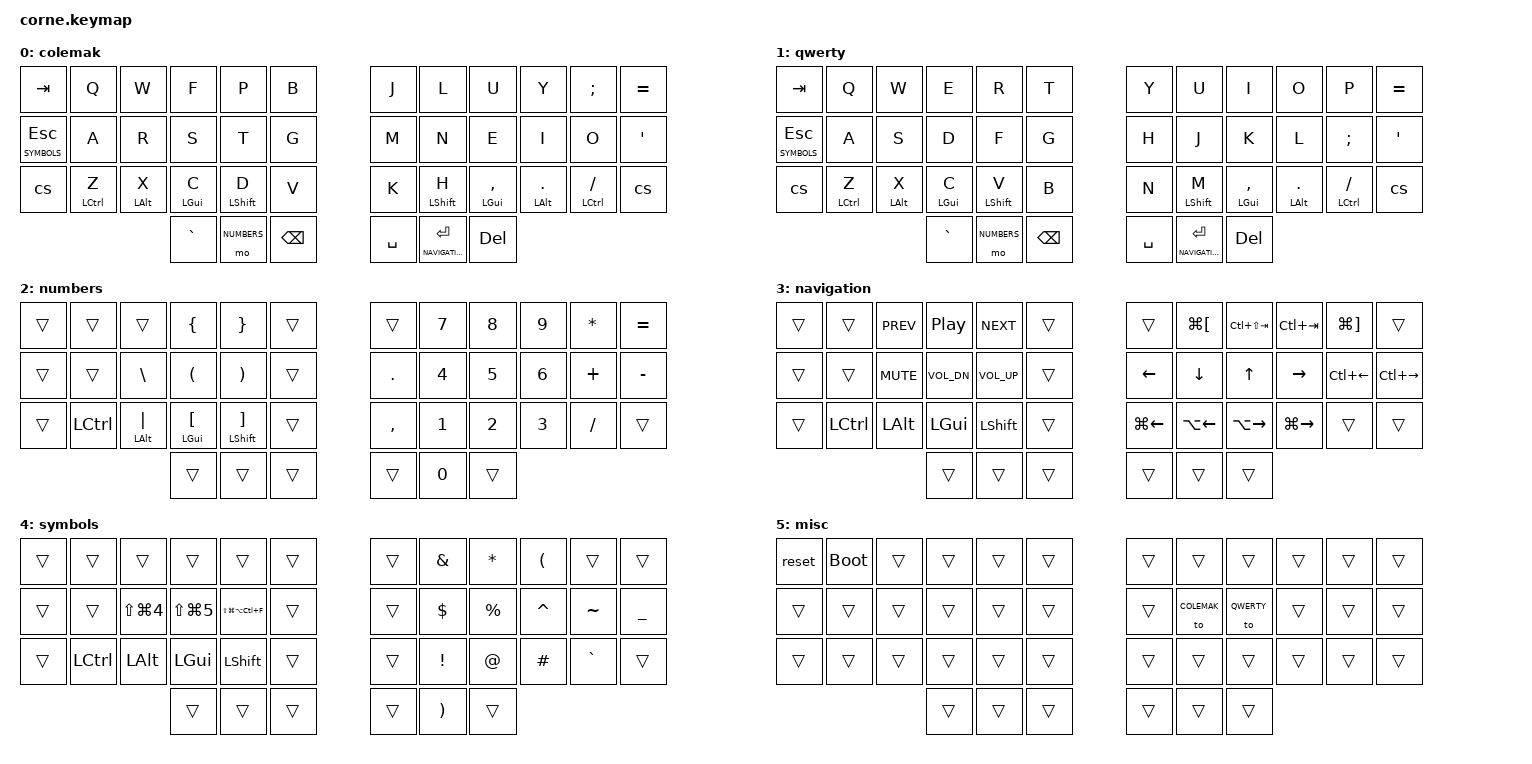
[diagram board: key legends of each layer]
/*
 * Copyright (c) 2020 The ZMK Contributors
 *
 * SPDX-License-Identifier: MIT
 */

#include <behaviors.dtsi>
#include <dt-bindings/zmk/keys.h>
#include <dt-bindings/zmk/bt.h>

#define COLEMAK 0
#define QWERTY 1
#define NUMBERS 2
#define NAVIGATION 3
#define SYMBOLS 4
#define MISC 5

&lt {
    tapping-term-ms = <100>;
};
&sk {
    release-after-ms = <200>;
    quick-release;
};

/ {
        behaviors {
            hrm: homerow_mods {
                compatible = "zmk,behavior-hold-tap";
                label = "HOMEROW_MODS";
                #binding-cells = <2>;
                tapping-term-ms = <190>;
                quick-tap-ms = <0>;
                flavor = "tap-preferred";
                bindings = <&kp>, <&kp>;
            };
            cs: caps_shift {
                compatible = "zmk,behavior-tap-dance";
                label = "caps_shift";
                #binding-cells = <0>;
                tapping-term-ms = <200>;
                bindings = <&sk LSHFT>, <&caps_word>;
            };
        };

        conditional_layers {
            compatible = "zmk,conditional-layers";
            tri_layer {
                if-layers = <NUMBERS NAVIGATION>;
                then-layer = <MISC>;
            };
        };

        keymap {
                compatible = "zmk,keymap";

                colemak {
                        bindings = <
   &kp TAB         &kp Q        &kp W       &kp F       &kp P        &kp B     &kp J &kp L        &kp U           &kp Y         &kp SEMI        &kp EQUAL
   &lt SYMBOLS ESC &kp A        &kp R       &kp S       &kp T        &kp G     &kp M &kp N        &kp E           &kp I         &kp O           &kp SQT
   &cs             &hrm LCTRL Z &hrm LALT X &hrm LGUI C &hrm LSHFT D &kp V     &kp K &hrm LSHFT H &hrm LGUI COMMA &hrm LALT DOT &hrm LCTRL FSLH &cs
                                            &kp GRAVE &mo NUMBERS &kp BSPC     &kp SPACE &lt NAVIGATION RET &kp DEL
                        >;
                };

                qwerty {
                        bindings = <
   &kp TAB         &kp Q        &kp W       &kp E       &kp R        &kp T     &kp Y &kp U        &kp I           &kp O         &kp P           &kp EQUAL
   &lt SYMBOLS ESC &kp A        &kp S       &kp D       &kp F        &kp G     &kp H &kp J        &kp K           &kp L         &kp SEMI        &kp SQT
   &cs             &hrm LCTRL Z &hrm LALT X &hrm LGUI C &hrm LSHFT V &kp B     &kp N &hrm LSHFT M &hrm LGUI COMMA &hrm LALT DOT &hrm LCTRL FSLH &cs
                                            &kp GRAVE &mo NUMBERS &kp BSPC     &kp SPACE &lt NAVIGATION RET &kp DEL
                        >;
                };

                numbers {
                        bindings = <
   &trans &trans    &trans         &kp LBRC       &kp RBRC        &trans    &trans    &kp N7 &kp N8 &kp N9 &kp STAR &kp EQUAL
   &trans &trans    &kp BSLH       &kp LPAR       &kp RPAR        &trans    &kp DOT   &kp N4 &kp N5 &kp N6 &kp PLUS &kp MINUS
   &trans &kp LCTRL &hrm LALT PIPE &hrm LGUI LBKT &hrm LSHFT RBKT &trans    &kp COMMA &kp N1 &kp N2 &kp N3 &kp FSLH &trans
                                                    &trans &trans &trans    &trans &kp N0 &trans
                        >;
                };

                navigation {
                        bindings = <
   &trans &trans    &kp C_PREV &kp C_PP     &kp C_NEXT   &trans       &trans       &kp LG(LBKT) &kp LC(LS(TAB)) &kp LC(TAB)   &kp LG(RBKT) &trans
   &trans &trans    &kp K_MUTE &kp C_VOL_DN &kp C_VOL_UP &trans       &kp LEFT     &kp DOWN     &kp UP          &kp RIGHT     &kp LC(LEFT) &kp LC(RIGHT)
   &trans &kp LCTRL &kp LALT   &kp LGUI     &kp LSHFT    &trans       &kp LG(LEFT) &kp LA(LEFT) &kp LA(RIGHT)   &kp LG(RIGHT) &trans       &trans
                                           &trans &trans &trans       &trans &trans &trans
                        >;
                };

                symbols {
                        bindings = <
   &trans &trans    &trans         &trans         &trans                &trans    &trans &kp AMPS &kp STAR  &kp LPAR  &trans    &trans
   &trans &trans    &kp LS(LG(N4)) &kp LS(LG(N5)) &kp LS(LG(LA(LC(F)))) &trans    &trans &kp DLLR &kp PRCNT &kp CARET &kp TILDE &kp UNDER
   &trans &kp LCTRL &kp LALT       &kp LGUI       &kp LSHFT             &trans    &trans &kp EXCL &kp AT    &kp HASH  &kp GRAVE &trans
                                                          &trans &trans &trans    &trans &kp RPAR &trans
                        >;
                };

                misc {
                        bindings = <
   &reset &bootloader &trans &trans &trans &trans    &trans &trans      &trans     &trans &trans &trans
   &trans &trans      &trans &trans &trans &trans    &trans &to COLEMAK &to QWERTY &trans &trans &trans
   &trans &trans      &trans &trans &trans &trans    &trans &trans      &trans     &trans &trans &trans
                             &trans &trans &trans    &trans &trans &trans
                        >;
                };
        };
};
